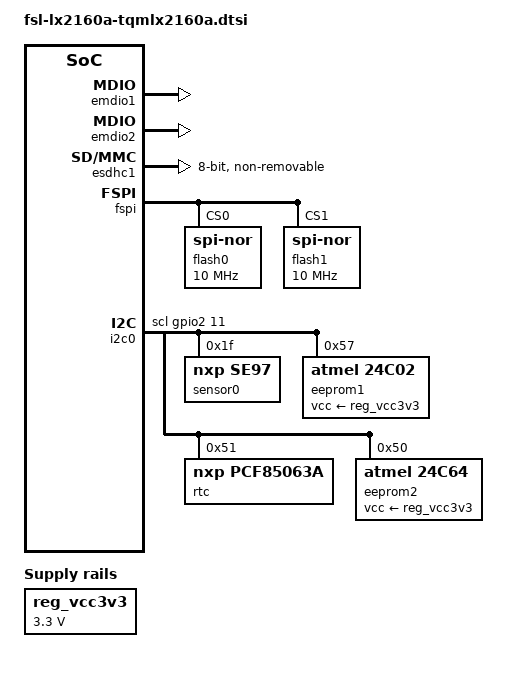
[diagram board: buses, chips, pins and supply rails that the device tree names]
// SPDX-License-Identifier: GPL-2.0-or-later OR MIT
/*
 * Copyright (c) 2020-2023 TQ-Systems GmbH <linux@ew.tq-group.com>,
 * D-82229 Seefeld, Germany.
 * Author: Gregor Herburger
 */

#include "fsl-lx2160a.dtsi"

/ {
	reg_vcc3v3: regulator-vcc3v3 {
		compatible = "regulator-fixed";
		regulator-name = "VCC3V3";
		regulator-min-microvolt = <3300000>;
		regulator-max-microvolt = <3300000>;
		regulator-always-on;
	};
};


&emdio1 {
	status = "okay";
};

&emdio2 {
	status = "okay";
};

&esdhc1 {
	bus-width = <8>;
	no-sd;
	no-sdio;
	non-removable;
	mmc-hs200-1_8v;
	status = "okay";
};

&fspi {
	status = "okay";

	flash0: flash@0 {
		compatible = "jedec,spi-nor";
		reg = <0>;
		#address-cells = <1>;
		#size-cells = <1>;
		spi-max-frequency = <10000000>;
		spi-rx-bus-width = <1>;
		spi-tx-bus-width = <1>;

		partitions {
			compatible = "fixed-partitions";
			#address-cells = <1>;
			#size-cells = <1>;
		};
	};

	flash1: flash@1 {
		compatible = "jedec,spi-nor";
		reg = <1>;
		#address-cells = <1>;
		#size-cells = <1>;
		spi-max-frequency = <10000000>;
		spi-rx-bus-width = <1>;
		spi-tx-bus-width = <1>;
	};
};

&i2c0 {
	scl-gpios = <&gpio2 11 GPIO_ACTIVE_HIGH>;
	status = "okay";

	sensor0: temperature-sensor@1f {
		compatible = "nxp,se97", "jedec,jc-42.4-temp";
		reg = <0x1f>;
	};

	eeprom1: eeprom@57 {
		compatible = "atmel,24c02";
		reg = <0x57>;
		pagesize = <16>;
		read-only;
		vcc-supply = <&reg_vcc3v3>;
	};

	rtc: rtc@51 {
		compatible = "nxp,pcf85063a";
		reg = <0x51>;
		quartz-load-femtofarads = <12500>;
	};

	eeprom2: eeprom@50 {
		compatible = "atmel,24c64";
		reg = <0x50>;
		pagesize = <32>;
		vcc-supply = <&reg_vcc3v3>;
	};
};
